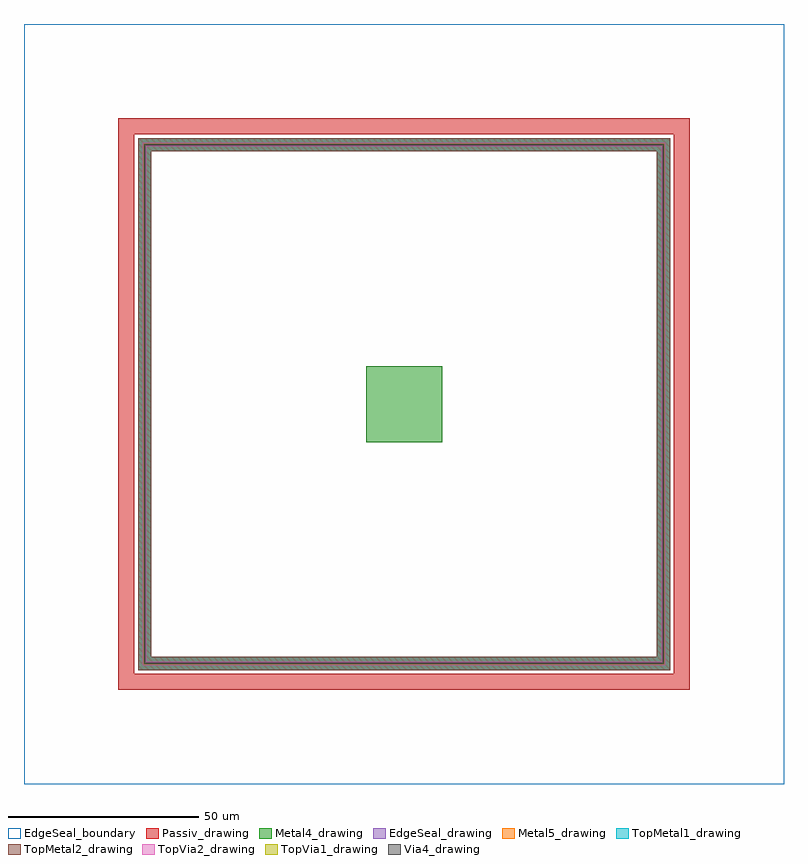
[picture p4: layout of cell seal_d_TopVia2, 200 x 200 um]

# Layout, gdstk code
import gdstk
lib = gdstk.Library(unit=1e-6, precision=1e-09)
def R(c, l, rs):  # rectangles x0, y0, x1, y1
    for r in rs: c.add(gdstk.rectangle(r[:2], r[2:], *l))
def P(c, l, *ps):  # polygons
    for p in ps: c.add(gdstk.Polygon(p, *l))
Passiv_drawing = (9, 0)
EdgeSeal_drawing = (39, 0)
EdgeSeal_boundary = (39, 4)
Metal4_drawing = (50, 0)
Via4_drawing = (66, 0)
Metal5_drawing = (67, 0)
TopVia1_drawing = (125, 0)
TopMetal1_drawing = (126, 0)
TopVia2_drawing = (133, 0)
TopMetal2_drawing = (134, 0)

seal_d_topvia2 = lib.new_cell('seal_d_TopVia2')
P(seal_d_topvia2, Passiv_drawing, [(24.8,24.8),(24.8,171),(29,171),(29,29),(171,29),(171,171),(24.8,171),(24.8,175.2),(175.2,175.2),(175.2,24.8)])
P(seal_d_topvia2, EdgeSeal_drawing, [(30,30),(30,166.5),(33.5,166.5),(33.5,33.5),(166.5,33.5),(166.5,166.5),(30,166.5),(30,170),(170,170),(170,30)])
R(seal_d_topvia2, EdgeSeal_boundary, [(0,0,200,200)])
R(seal_d_topvia2, Metal4_drawing, [(90,90,110,110)])
P(seal_d_topvia2, Metal4_drawing, [(30,30),(30,166.5),(33.5,166.5),(33.5,33.5),(166.5,33.5),(166.5,166.5),(30,166.5),(30,170),(170,170),(170,30)])
P(seal_d_topvia2, Via4_drawing, [(31.655,31.655),(31.655,168.155),(31.845,168.155),(31.845,31.845),(168.155,31.845),(168.155,168.155),(31.655,168.155),(31.655,168.345),(168.345,168.345),(168.345,31.655)])
P(seal_d_topvia2, Metal5_drawing, [(30,30),(30,166.5),(33.5,166.5),(33.5,33.5),(166.5,33.5),(166.5,166.5),(30,166.5),(30,170),(170,170),(170,30)])
P(seal_d_topvia2, TopVia1_drawing, [(31.54,31.54),(31.54,168.04),(31.96,168.04),(31.96,31.96),(168.04,31.96),(168.04,168.04),(31.54,168.04),(31.54,168.46),(168.46,168.46),(168.46,31.54)])
P(seal_d_topvia2, TopMetal1_drawing, [(30,30),(30,166.5),(33.5,166.5),(33.5,33.5),(166.5,33.5),(166.5,166.5),(30,166.5),(30,170),(170,170),(170,30)])
P(seal_d_topvia2, TopVia2_drawing, [(31.295,31.295),(31.295,167.805),(32.195,167.805),(32.195,32.195),(167.805,32.195),(167.805,167.805),(31.295,167.805),(31.295,168.705),(168.705,168.705),(168.705,31.295)])
P(seal_d_topvia2, TopMetal2_drawing, [(30,30),(30,166.5),(33.5,166.5),(33.5,33.5),(166.5,33.5),(166.5,166.5),(30,166.5),(30,170),(170,170),(170,30)])

lib.write_gds('seal_d_TopVia2.gds')
